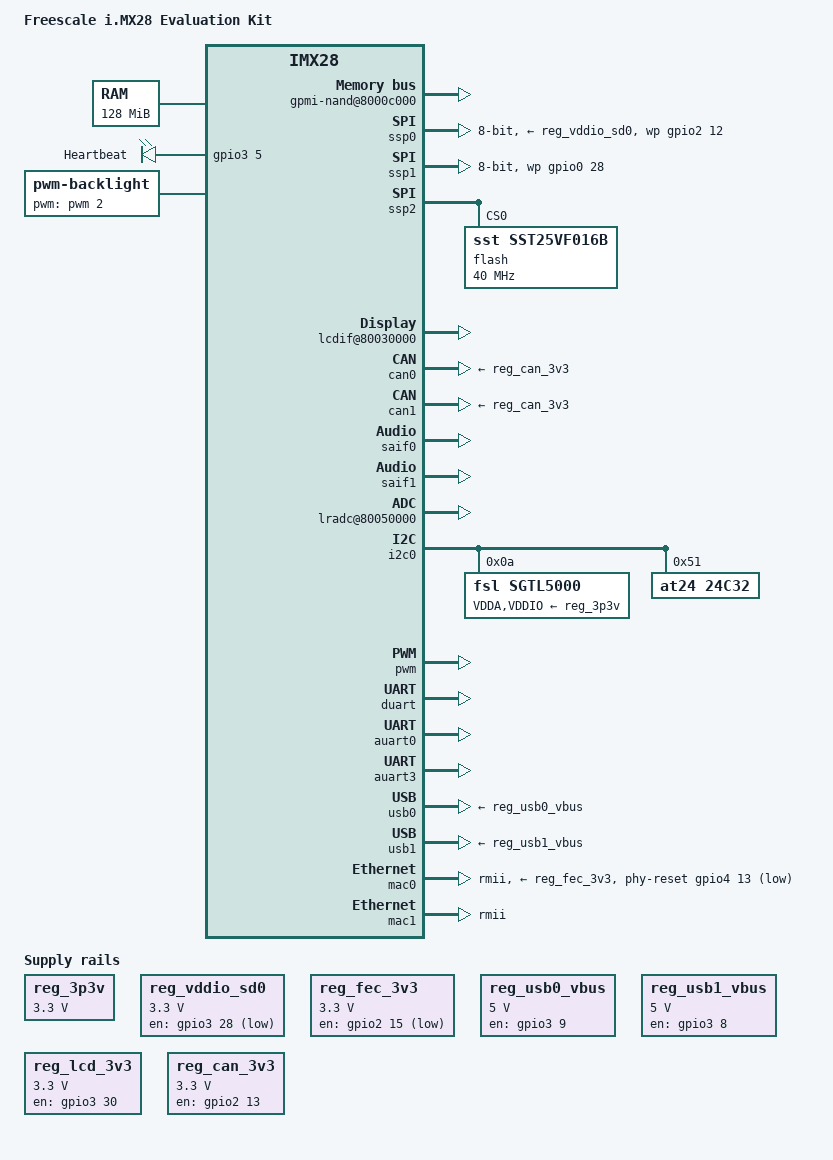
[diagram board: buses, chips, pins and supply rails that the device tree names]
/*
 * Copyright 2012 Freescale Semiconductor, Inc.
 *
 * The code contained herein is licensed under the GNU General Public
 * License. You may obtain a copy of the GNU General Public License
 * Version 2 or later at the following locations:
 *
 * http://www.opensource.org/licenses/gpl-license.html
 * http://www.gnu.org/copyleft/gpl.html
 */

/dts-v1/;
#include "imx28.dtsi"

/ {
	model = "Freescale i.MX28 Evaluation Kit";
	compatible = "fsl,imx28-evk", "fsl,imx28";

	memory {
		reg = <0x40000000 0x08000000>;
	};

	apb@80000000 {
		apbh@80000000 {
			gpmi-nand@8000c000 {
				pinctrl-names = "default";
				pinctrl-0 = <&gpmi_pins_a &gpmi_status_cfg
					     &gpmi_pins_evk>;
				status = "okay";
			};

			ssp0: ssp@80010000 {
				compatible = "fsl,imx28-mmc";
				pinctrl-names = "default";
				pinctrl-0 = <&mmc0_8bit_pins_a
					&mmc0_cd_cfg &mmc0_sck_cfg>;
				bus-width = <8>;
				wp-gpios = <&gpio2 12 0>;
				vmmc-supply = <&reg_vddio_sd0>;
				status = "okay";
			};

			ssp1: ssp@80012000 {
				compatible = "fsl,imx28-mmc";
				bus-width = <8>;
				wp-gpios = <&gpio0 28 0>;
			};

			ssp2: ssp@80014000 {
				#address-cells = <1>;
				#size-cells = <0>;
				compatible = "fsl,imx28-spi";
				pinctrl-names = "default";
				pinctrl-0 = <&spi2_pins_a>;
				status = "okay";

				flash: m25p80@0 {
					#address-cells = <1>;
					#size-cells = <1>;
					compatible = "sst,sst25vf016b";
					spi-max-frequency = <40000000>;
					reg = <0>;
				};
			};

			pinctrl@80018000 {
				pinctrl-names = "default";
				pinctrl-0 = <&hog_pins_a>;

				hog_pins_a: hog@0 {
					reg = <0>;
					fsl,pinmux-ids = <
						MX28_PAD_SSP1_CMD__GPIO_2_13
						MX28_PAD_SSP1_DATA3__GPIO_2_15
						MX28_PAD_ENET0_RX_CLK__GPIO_4_13
						MX28_PAD_SSP1_SCK__GPIO_2_12
						MX28_PAD_PWM3__GPIO_3_28
						MX28_PAD_LCD_RESET__GPIO_3_30
						MX28_PAD_AUART2_RX__GPIO_3_8
						MX28_PAD_AUART2_TX__GPIO_3_9
					>;
					fsl,drive-strength = <MXS_DRIVE_4mA>;
					fsl,voltage = <MXS_VOLTAGE_HIGH>;
					fsl,pull-up = <MXS_PULL_DISABLE>;
				};

				led_pin_gpio3_5: led_gpio3_5@0 {
					reg = <0>;
					fsl,pinmux-ids = <
						MX28_PAD_AUART1_TX__GPIO_3_5
					>;
					fsl,drive-strength = <MXS_DRIVE_4mA>;
					fsl,voltage = <MXS_VOLTAGE_HIGH>;
					fsl,pull-up = <MXS_PULL_DISABLE>;
				};

				gpmi_pins_evk: gpmi-nand-evk@0 {
					reg = <0>;
					fsl,pinmux-ids = <
						MX28_PAD_GPMI_CE1N__GPMI_CE1N
						MX28_PAD_GPMI_RDY1__GPMI_READY1
					>;
					fsl,drive-strength = <MXS_DRIVE_4mA>;
					fsl,voltage = <MXS_VOLTAGE_HIGH>;
					fsl,pull-up = <MXS_PULL_DISABLE>;
				};

				lcdif_pins_evk: lcdif-evk@0 {
					reg = <0>;
					fsl,pinmux-ids = <
						MX28_PAD_LCD_RD_E__LCD_VSYNC
						MX28_PAD_LCD_WR_RWN__LCD_HSYNC
						MX28_PAD_LCD_RS__LCD_DOTCLK
						MX28_PAD_LCD_CS__LCD_ENABLE
					>;
					fsl,drive-strength = <MXS_DRIVE_4mA>;
					fsl,voltage = <MXS_VOLTAGE_HIGH>;
					fsl,pull-up = <MXS_PULL_DISABLE>;
				};
			};

			lcdif@80030000 {
				pinctrl-names = "default";
				pinctrl-0 = <&lcdif_24bit_pins_a
					     &lcdif_pins_evk>;
				lcd-supply = <&reg_lcd_3v3>;
				display = <&display>;
				status = "okay";

				display: display {
					bits-per-pixel = <32>;
					bus-width = <24>;

					display-timings {
						native-mode = <&timing0>;
						timing0: timing0 {
							clock-frequency = <33500000>;
							hactive = <800>;
							vactive = <480>;
							hback-porch = <89>;
							hfront-porch = <164>;
							vback-porch = <23>;
							vfront-porch = <10>;
							hsync-len = <10>;
							vsync-len = <10>;
							hsync-active = <0>;
							vsync-active = <0>;
							de-active = <1>;
							pixelclk-active = <0>;
						};
					};
				};
			};

			can0: can@80032000 {
				pinctrl-names = "default";
				pinctrl-0 = <&can0_pins_a>;
				xceiver-supply = <&reg_can_3v3>;
				status = "okay";
			};

			can1: can@80034000 {
				pinctrl-names = "default";
				pinctrl-0 = <&can1_pins_a>;
				xceiver-supply = <&reg_can_3v3>;
				status = "okay";
			};
		};

		apbx@80040000 {
			saif0: saif@80042000 {
				pinctrl-names = "default";
				pinctrl-0 = <&saif0_pins_a>;
				status = "okay";
			};

			saif1: saif@80046000 {
				pinctrl-names = "default";
				pinctrl-0 = <&saif1_pins_a>;
				fsl,saif-master = <&saif0>;
				status = "okay";
			};

			lradc@80050000 {
				fsl,lradc-touchscreen-wires = <4>;
				status = "okay";
				fsl,lradc-touchscreen-wires = <4>;
				fsl,ave-ctrl = <4>;
				fsl,ave-delay = <2>;
				fsl,settling = <10>;
			};

			i2c0: i2c@80058000 {
				pinctrl-names = "default";
				pinctrl-0 = <&i2c0_pins_a>;
				status = "okay";

				sgtl5000: codec@0a {
					compatible = "fsl,sgtl5000";
					reg = <0x0a>;
					VDDA-supply = <&reg_3p3v>;
					VDDIO-supply = <&reg_3p3v>;
					clocks = <&saif0>;
				};

				at24@51 {
					compatible = "at24,24c32";
					pagesize = <32>;
					reg = <0x51>;
				};
			};

			pwm: pwm@80064000 {
				pinctrl-names = "default";
				pinctrl-0 = <&pwm2_pins_a>;
				status = "okay";
			};

			duart: serial@80074000 {
				pinctrl-names = "default";
				pinctrl-0 = <&duart_pins_a>;
				status = "okay";
			};

			auart0: serial@8006a000 {
				pinctrl-names = "default";
				pinctrl-0 = <&auart0_pins_a>;
				fsl,uart-has-rtscts;
				status = "okay";
			};

			auart3: serial@80070000 {
				pinctrl-names = "default";
				pinctrl-0 = <&auart3_pins_a>;
				status = "okay";
			};

			usbphy0: usbphy@8007c000 {
				status = "okay";
			};

			usbphy1: usbphy@8007e000 {
				status = "okay";
			};
		};
	};

	ahb@80080000 {
		usb0: usb@80080000 {
			pinctrl-names = "default";
			pinctrl-0 = <&usb0_id_pins_a>;
			vbus-supply = <&reg_usb0_vbus>;
			status = "okay";
		};

		usb1: usb@80090000 {
			vbus-supply = <&reg_usb1_vbus>;
			status = "okay";
		};

		mac0: ethernet@800f0000 {
			phy-mode = "rmii";
			pinctrl-names = "default";
			pinctrl-0 = <&mac0_pins_a>;
			phy-supply = <&reg_fec_3v3>;
			phy-reset-gpios = <&gpio4 13 0>;
			phy-reset-duration = <100>;
			status = "okay";
		};

		mac1: ethernet@800f4000 {
			phy-mode = "rmii";
			pinctrl-names = "default";
			pinctrl-0 = <&mac1_pins_a>;
			status = "okay";
		};
	};

	regulators {
		compatible = "simple-bus";

		reg_3p3v: 3p3v {
			compatible = "regulator-fixed";
			regulator-name = "3P3V";
			regulator-min-microvolt = <3300000>;
			regulator-max-microvolt = <3300000>;
			regulator-always-on;
		};

		reg_vddio_sd0: vddio-sd0 {
			compatible = "regulator-fixed";
			regulator-name = "vddio-sd0";
			regulator-min-microvolt = <3300000>;
			regulator-max-microvolt = <3300000>;
			gpio = <&gpio3 28 0>;
		};

		reg_fec_3v3: fec-3v3 {
			compatible = "regulator-fixed";
			regulator-name = "fec-3v3";
			regulator-min-microvolt = <3300000>;
			regulator-max-microvolt = <3300000>;
			gpio = <&gpio2 15 0>;
		};

		reg_usb0_vbus: usb0_vbus {
			compatible = "regulator-fixed";
			regulator-name = "usb0_vbus";
			regulator-min-microvolt = <5000000>;
			regulator-max-microvolt = <5000000>;
			gpio = <&gpio3 9 0>;
			enable-active-high;
		};

		reg_usb1_vbus: usb1_vbus {
			compatible = "regulator-fixed";
			regulator-name = "usb1_vbus";
			regulator-min-microvolt = <5000000>;
			regulator-max-microvolt = <5000000>;
			gpio = <&gpio3 8 0>;
			enable-active-high;
		};

		reg_lcd_3v3: lcd-3v3 {
			compatible = "regulator-fixed";
			regulator-name = "lcd-3v3";
			regulator-min-microvolt = <3300000>;
			regulator-max-microvolt = <3300000>;
			gpio = <&gpio3 30 0>;
			enable-active-high;
		};

		reg_can_3v3: can-3v3 {
			compatible = "regulator-fixed";
			regulator-name = "can-3v3";
			regulator-min-microvolt = <3300000>;
			regulator-max-microvolt = <3300000>;
			gpio = <&gpio2 13 0>;
			enable-active-high;
		};

	};

	sound {
		compatible = "fsl,imx28-evk-sgtl5000",
			     "fsl,mxs-audio-sgtl5000";
		model = "imx28-evk-sgtl5000";
		saif-controllers = <&saif0 &saif1>;
		audio-codec = <&sgtl5000>;
	};

	leds {
		compatible = "gpio-leds";
		pinctrl-names = "default";
		pinctrl-0 = <&led_pin_gpio3_5>;

		user {
			label = "Heartbeat";
			gpios = <&gpio3 5 0>;
			linux,default-trigger = "heartbeat";
		};
	};

	backlight {
		compatible = "pwm-backlight";
		pwms = <&pwm 2 5000000>;
		brightness-levels = <0 4 8 16 32 64 128 255>;
		default-brightness-level = <6>;
	};
};
